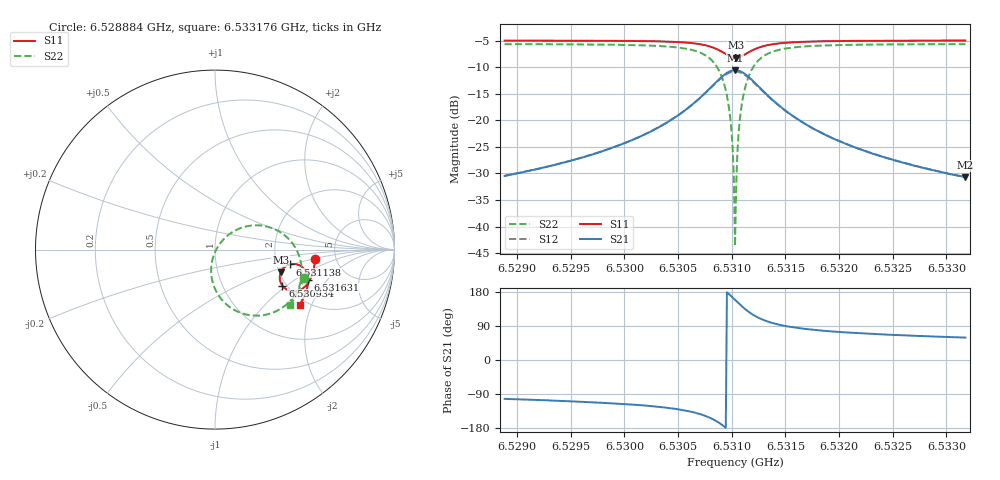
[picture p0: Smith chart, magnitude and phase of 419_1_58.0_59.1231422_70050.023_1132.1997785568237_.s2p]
#  HZ  S  RI  R  50.00
! Rohde & Schwarz Vector Network Analyzer
! Rohde-Schwarz,ZNB20-2Port,1311601062101988,3.16
! Created: UTC 3/21/2024, 1:09:03 AM
! freq[Hz]  re:S11  im:S11  re:S21  im:S21  re:S12  im:S12  re:S22  im:S22
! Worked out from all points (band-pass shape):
!   401 points, 6.528884 GHz to 6.533176 GHz, reference 50 ohm
!   highest |S21| = -10.56 dB at 6.53103 GHz (marker M1); lowest = -30.7 dB at 6.533176 GHz (marker M2)
!   |S21| within 3 dB of the highest: 6.530817 GHz to 6.531246 GHz (428.8 kHz wide, 0.00657 % of centre)
!   lowest |S11| = -8.2 dB at 6.531041 GHz (marker M3), VSWR 2.27, Z = 102 - j30.4 ohm
!   |S11| at or under -10 dB: nowhere
!   |S22| runs from -43.7 to -5.7 dB; largest |S21 - S12| = 0.011
!   S11 on the Smith chart (normalised r, x): 6.528884 GHz: 3.47, -0.53; 6.530934 GHz: 1.90, -0.93; 6.531138 GHz: 2.36, -0.48; 6.531631 GHz: 2.71, -1.29; 6.533176 GHz: 1.82, -1.65
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6.5288843e9  0.5586 -0.0527  -0.00653 -0.0292  -0.00709 -0.0291  0.4966 -0.1556
6.5296032e9  0.5488 -0.1119  -0.0155 -0.0419  -0.0163 -0.0416  0.4671 -0.2216
6.5303221e9  0.5213 -0.1819  -0.0477 -0.0718  -0.0497 -0.0707  0.3888 -0.3136
6.5307512e9  0.4526 -0.2317  -0.1518 -0.0976  -0.154 -0.0916  0.1887 -0.3646
6.5308585e9  0.4094 -0.2271  -0.2189 -0.0727  -0.2185 -0.0639  0.0736 -0.3135
6.5309337e9  0.3755 -0.2012  -0.269 -0.0167  -0.2638 -0.0075  -0.00318 -0.2113
6.5309873e9  0.3614 -0.1668  -0.2861 0.0485  -0.2773 0.0555  -0.0213 -0.1002
6.530998e9  0.3607 -0.1588  -0.2856 0.0632  -0.2765 0.0694  -0.0185 -0.076
6.5310088e9  0.3607 -0.1507  -0.284 0.078  -0.2744 0.0833  -0.0134 -0.0519
6.5310195e9  0.3618 -0.1425  -0.2809 0.0926  -0.2709 0.0972  -0.0059 -0.0281
6.5310302e9  0.3636 -0.1345  -0.2763 0.1072  -0.266 0.1107  0.00397 -0.00522
6.5310409e9  0.3664 -0.1268  -0.2703 0.1212  -0.26 0.1236  0.0162 0.0168
6.5310517e9  0.37 -0.1193  -0.2628 0.134  -0.2528 0.136  0.0303 0.0372
6.5310624e9  0.3743 -0.1122  -0.2542 0.1464  -0.2443 0.1474  0.0463 0.056
6.5310839e9  0.3848 -0.1002  -0.2342 0.1678  -0.2251 0.167  0.0824 0.0878
6.5311375e9  0.4167 -0.0826  -0.176 0.1996  -0.1695 0.1965  0.184 0.1312
6.5312019e9  0.453 -0.0817  -0.1118 0.2037  -0.1082 0.2007  0.2923 0.1277
6.5312985e9  0.4889 -0.0999  -0.0491 0.1792  -0.0473 0.1774  0.3957 0.073
6.5316311e9  0.519 -0.1672  0.0108 0.0992  0.0117 0.0988  0.4816 -0.0934
6.5317491e9  0.5189 -0.1841  0.0148 0.0834  0.0158 0.0832  0.483 -0.1284
6.532468e9  0.4989 -0.256  0.0173 0.0399  0.0179 0.0397  0.4555 -0.2444
6.5331762e9  0.4715 -0.308  0.015 0.0251  0.0155 0.0248  0.4205 -0.3062
